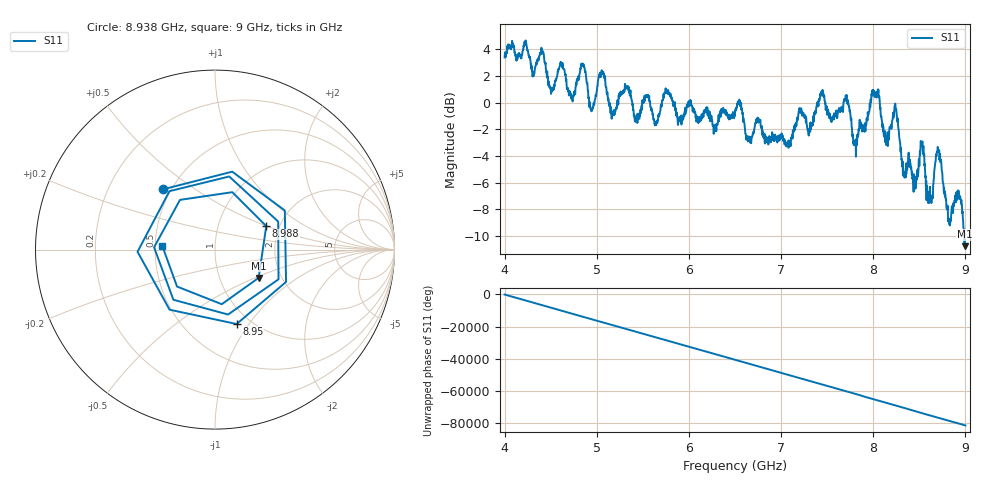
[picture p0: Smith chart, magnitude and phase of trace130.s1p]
! Created with skrf 1.8.0 (http://scikit-rf.org).
# Hz S RI R 50.0
!freq ReS11 ImS11
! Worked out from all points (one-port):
!   1601 points, 4 GHz to 9 GHz, reference 50 ohm
!   lowest |S11| = -10.8 dB at 8.991 GHz (marker M1), VSWR 1.82, Z = 76.6 - j26.4 ohm
!   |S11| at or under -10 dB: 8.987583 GHz to end of sweep
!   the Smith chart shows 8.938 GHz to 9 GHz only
!   S11 on the Smith chart (normalised r, x): 8.938 GHz: 0.45, +0.38; 8.95 GHz: 0.86, -0.88; 8.988 GHz: 1.71, +0.50; 9 GHz: 0.55, +0.02
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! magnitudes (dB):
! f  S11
! 4 GHz  3.4
! 4.625 GHz  2.7
! 4.725 GHz  0.3
! 4.853 GHz  2.7
! 4.944 GHz  -0.6
! 5.047 GHz  2.2
! 5.172 GHz  -1.0
! 5.25 GHz  0.5
! 5.875 GHz  -1.0
! 6.5 GHz  -0.8
! 7.125 GHz  -2.7
! 7.444 GHz  0.7
! 7.75 GHz  -0.8
! 7.806 GHz  -2.9
! 8.041 GHz  0.7
! 8.138 GHz  -2.5
! 8.241 GHz  -0.2
! 8.375 GHz  -4.8
! 8.456 GHz  -6.0
! 8.528 GHz  -3.2
! 8.622 GHz  -7.4
! 8.706 GHz  -3.7
! 8.819 GHz  -8.9
! 8.938 GHz  -7.1
! 8.95 GHz  -7.3
! 8.988 GHz  -10.1
! 8.991 GHz  -10.8
! 9 GHz  -10.6
